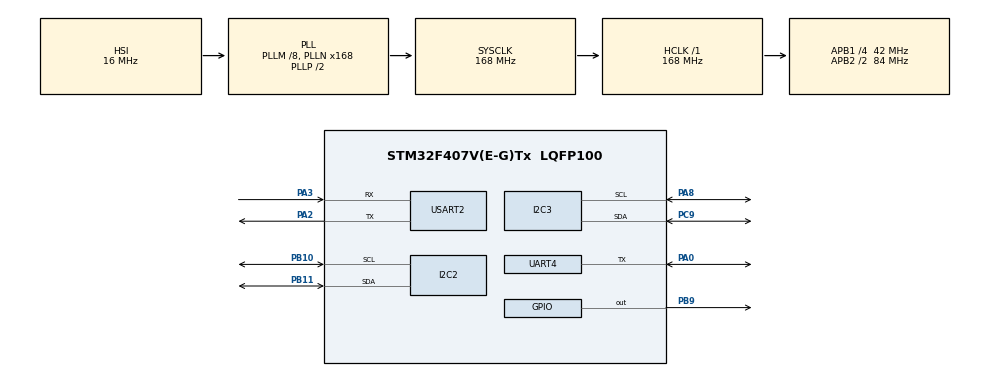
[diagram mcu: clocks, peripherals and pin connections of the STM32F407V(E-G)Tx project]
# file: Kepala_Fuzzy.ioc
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Dma.Request0=USART2_RX
Dma.USART2_RX.0.Direction=DMA_PERIPH_TO_MEMORY
Dma.USART2_RX.0.FIFOMode=DMA_FIFOMODE_DISABLE
Dma.USART2_RX.0.Instance=DMA1_Stream5
Dma.USART2_RX.0.MemDataAlignment=DMA_MDATAALIGN_BYTE
Dma.USART2_RX.0.MemInc=DMA_MINC_ENABLE
Dma.USART2_RX.0.Mode=DMA_NORMAL
Dma.USART2_RX.0.PeriphDataAlignment=DMA_PDATAALIGN_BYTE
Dma.USART2_RX.0.PeriphInc=DMA_PINC_DISABLE
Dma.USART2_RX.0.Priority=DMA_PRIORITY_LOW
Mcu.Family=STM32F4
Mcu.Name=STM32F407V(E-G)Tx
Mcu.Package=LQFP100
NVIC.DMA1_Stream5_IRQn=true\:0\:0\:false\:false\:true\:false\:true\:true
NVIC.PriorityGroup=NVIC_PRIORITYGROUP_4
NVIC.USART2_IRQn=true\:0\:0\:false\:false\:true\:true\:true\:true
PA0-WKUP.Mode=Half_duplex(single_wire_mode)
PA0-WKUP.Signal=UART4_TX
PA13.Mode=Serial_Wire
PA13.Signal=SYS_JTMS-SWDIO
PA14.Mode=Serial_Wire
PA14.Signal=SYS_JTCK-SWCLK
PA2.Mode=Asynchronous
PA2.Signal=USART2_TX
PA3.Mode=Asynchronous
PA3.Signal=USART2_RX
PA8.Mode=I2C
PA8.Signal=I2C3_SCL
PB10.Mode=I2C
PB10.Signal=I2C2_SCL
PB11.Mode=I2C
PB11.Signal=I2C2_SDA
PB9.Signal=GPIO_Output
PC9.Mode=I2C
PC9.Signal=I2C3_SDA
PH0-OSC_IN.Mode=HSE-External-Oscillator
PH0-OSC_IN.Signal=RCC_OSC_IN
PH1-OSC_OUT.Mode=HSE-External-Oscillator
PH1-OSC_OUT.Signal=RCC_OSC_OUT
ProjectManager.HeapSize=0x200
ProjectManager.StackSize=0x400
ProjectManager.TargetToolchain=MDK-ARM V5.32
RCC.48MHZClocksFreq_Value=84000000
RCC.AHBFreq_Value=168000000
RCC.APB1CLKDivider=RCC_HCLK_DIV4
RCC.APB1Freq_Value=42000000
RCC.APB1TimFreq_Value=84000000
RCC.APB2CLKDivider=RCC_HCLK_DIV2
RCC.APB2Freq_Value=84000000
RCC.APB2TimFreq_Value=168000000
RCC.CortexFreq_Value=168000000
RCC.HCLKFreq_Value=168000000
RCC.HSE_VALUE=25000000
RCC.HSI_VALUE=16000000
RCC.LSE_VALUE=32768
RCC.PLLM=8
RCC.PLLN=168
RCC.SYSCLKFreq_VALUE=168000000
RCC.SYSCLKSource=RCC_SYSCLKSOURCE_PLLCLK
RCC.VCOOutputFreq_Value=336000000
UART4.BaudRate=1000000
UART4.VirtualMode=Asynchronous
USART2.VirtualMode=VM_ASYNC
board=custom

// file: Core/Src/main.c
/* USER CODE BEGIN Header */
/**
  ******************************************************************************
  * @file           : main.c
  * @brief          : Main program body
  ******************************************************************************
  * @attention
  *
  * Copyright (c) 2023 STMicroelectronics.
  * All rights reserved.
  *
  * This software is licensed under terms that can be found in the LICENSE file
  * in the root directory of this software component.
  * If no LICENSE file comes with this software, it is provided AS-IS.
  *
  ******************************************************************************
  */
/* USER CODE END Header */
#include "main.h"

/* USER CODE BEGIN Includes */
#include <stdlib.h>

//*************************** CONFIGURATIONS **********************************//
#define DETEKSI_KORBAN_PID
#define WALL_FOLLOWER_PID
#define USE_STABILIZE_PID
#define DETEKSI_SF_PID

//*************************** PARAMETERS **********************************//
#define SPEED_WALKING						10
#define SAMPLE_TIME_S 					0.01f
// Luas pembacaan diperoleh dari (luas arena - luas robot bagian luar) = 45 - 33 = 12
#define LEBAR_PEMBACAAN 				12.00
// Panjang ping kaki diperoleh dari pengukuran jarak dari ping ke kaki bagian dalam
#define PANJANG_PING_KAKI 			9.00
// Mengetahui Jarak terhadap tembok yang ada di depan (perlu diperhitungkan terkait dengan daerah minimal yang diperlukan untuk melakukan rotasi
#define BATAS_DEPAN 						9.00

//*************************** DEBUG MODE **********************************//
//#define TEST_HUSKY
//#define TEST_DYNA
//#define TEST_PING
//#define TEST_COMMUNICATION
//#define MAIN_PROGRAM
#define MAIN_PROGRAM_STACK
//#define TEST_BENCH

//*************************** VARIABEL JALAN ********************************//
//#define STEP_0
#define STEP_1
#define STEP_2
#define STEP_3
#define STEP_4
#define STEP_5
#define STEP_6
#define STEP_6A
#define STEP_6B
//#define STEP_7
//#define STEP_8
//#define STEP_9
//#define STEP_10
//#define STEP_11
//#define STEP_12
//#define STEP_13

//*************************** MODE KALKULASI ********************************//
#define USE_PID

//*************************** ON/OFF MODUL ********************************//
#define HUSKY_ON
#define DYNA_ON
#define PING_ON
#define COMMUNICATION_ON

//*************************** FILE EKSTERNAL ******************************//
#ifdef PING_ON
#include "Ping_driver.h"
#include "DWT_Delay.h"
#endif

#ifdef COMMUNICATION_ON
#include "Komunikasi.h"
#endif

#ifdef HUSKY_ON
#include "Huskylens_driver.h"
#endif

#ifdef DYNA_ON
#include "Dynamixel.h"
#endif

#ifdef USE_PID
#include "PID_driver.h"
#endif

/* USER CODE END Includes */

/* USER CODE BEGIN PTD */

// Filter untuk sensor PING
//#define FILTER_KAKI
#define FILTER_AVG

// State untuk deteksi Wall
#define STATE_KANAN 						0x01
#define STATE_KIRI 							0x02
#define STATE_DOUBLE						0x03
#define STATE_DEPAN 						0x04
#define STATE_BELAKANG 					0x05

// State untuk belok
#define BELOK_KANAN 						0x01
#define BELOK_KIRI 							0x02

// State untuk mode jalan
#define MODE_MENDAKI 						0x01
#define MODE_MELEWATI_KELERENG 	0x02
#define MODE_MENURUN 						0x03
#define MODE_MENCARI_KORBAN 		0x04

/* USER CODE END PTD */

/* USER CODE BEGIN PD */
typedef enum{
	KOSONG_KANAN = 0x01U,
	KOSONG_KIRI = 0x02U
}home_typedef_t;

typedef enum{
	DIRECTION_KANAN = 0x01U,
	DIRECTION_KIRI = 0x02U,
	DIRECTION_DEPAN = 0x03U,
	DIRECTION_BELAKANG = 0x04U
}follower_direction_t;

huskylens_area_identification_t running_arena = HOME;
home_typedef_t home_direction = 0x00;
/* USER CODE END PD */

I2C_HandleTypeDef hi2c2;
I2C_HandleTypeDef hi2c3;

UART_HandleTypeDef huart4;
UART_HandleTypeDef huart2;
DMA_HandleTypeDef hdma_usart2_rx;

void SystemClock_Config(void);
static void MX_GPIO_Init(void);
static void MX_DMA_Init(void);
static void MX_USART2_UART_Init(void);
static void MX_I2C2_Init(void);
static void MX_UART4_Init(void);
static void MX_I2C3_Init(void);

/* USER CODE BEGIN 0 */

//****************************** CONFIG  HUSKYLENS *******************************//
#ifdef HUSKY_ON
huskylens_info_t huskAll;
huskylens_status_t status;
huskylens_arrow_t arrows;
huskylens_block_t blocks;
huskylens_all_byid_t id;
double husky_distance = 0;
uint16_t algorithm_type = ALGORITHM_NOT_FOUND;
#endif

//****************************** CONFIG  PING *******************************//
#ifdef PING_ON
Ping_t FR;
Ping_t BR;
Ping_t FL;
Ping_t BL;
Ping_t FF;
Ping_t BB;
Ping_t CP;

double kanan = 0,kiri = 0, depan = 0, belakang = 0, capit = 0;
double FRV,BRV,FLV,BLV,FFV,BBV, CPV;

#endif

//****************************** CONFIG  DYNAMIXEL *******************************//
#ifdef DYNA_ON
dynamixel_t ax;
uint16_t dyna_sudut = 0;
#endif

//***************************** CONFIG PID **********************************//
#ifdef USE_PID
// PID pencarian korban
PIDController pid_pk;
float setpoint_pk = 160;

// PID deteksi korban
PIDController pid_dk;
float setpoint_dk = 160;

// PID Wall Follower
PIDController pid_wf;
float setpoint_wf = 4;
float setpoint_wf_y = 10;

// PID Stabilizer
PIDController pid_st;
float setpoint_st = 0.1;

// PID Jalan Korban Follower
PIDController pid_kf;
float setpoint_kf = 512;

// PID Rotasi Korban
PIDController pid_rk;
float setpoint_rk = 512;

// PID AXIS
PIDController pid_axis_x; PIDController pid_axis_y;
#endif

//**************************** CONFIG COMMUNICATION ********************************//
#ifdef COMMUNICATION_ON
feedback_t feeding;
void HAL_UART_RxCpltCallback(UART_HandleTypeDef *huart)
{
	// reset
	feeding.jalan = 0x00;
	feeding.ping = 0x00;
	feeding.req = 0x00;
	feeding.rotasi = 0x00;
	feeding.standby = 0x00;
	feeding.statis = 0x00;
	feeding.translasi = 0x00;
	feeding.capit = 0x00;
	feeding.serok = 0x00;
	rx_feedback(&feeding);
}
#endif
void pid_run(uint8_t state_jalan, double input, follower_direction_t dir);
void pid_run_batu(uint8_t state_jalan, double input, follower_direction_t dir);

//****************************** PROTOTYPE ACTION  ************************************//
void scp_wall_follower(uint8_t state, follower_direction_t direction_play);
void scp_wall_follower_batu(uint8_t state, follower_direction_t direction_play);
void scp_belok(uint8_t direction, uint16_t time);
bool scp_wall_stabilizer(uint8_t state);
bool scp_deteksi_korban(uint8_t id, follower_direction_t dir);
void scp_deteksi_arena(uint8_t id);
void scp_mode_jalan(mode_jalan_t mode);
void scp_pengangkatan_korban(void);
void scp_penurunan_korban(void);
void scp_kepala_move(dynamixel_kepala_direction_t dir);
bool scp_korban_follower(uint8_t id, follower_direction_t dir);
bool scp_korban_follower_rotasi(uint8_t id, follower_direction_t dir);
void scp_wall_follower_belakang(void);
void scp_ambil_korban(void);
void scp_turun_korban(void);
bool scp_korban_follower_statis(uint8_t state);
bool scp_korban_follower_kepala(void);
bool scp_axis_stabilizer(int16_t x_axis, int16_t y_axis, uint8_t state_x, uint8_t state_y );
void ping_clear(void);
/* USER CODE END 0 */

int main(void)
{

  /* MCU Configuration--------------------------------------------------------*/

  /* Reset of all peripherals, Initializes the Flash interface and the Systick. */
  HAL_Init();

  /* Configure the system clock */
  SystemClock_Config();

  /* Initialize all configured peripherals */
  MX_GPIO_Init();
  MX_DMA_Init();
  MX_USART2_UART_Init();
  MX_I2C2_Init();
  MX_UART4_Init();
  MX_I2C3_Init();
  /* USER CODE BEGIN 2 */
	//*********************** COMMUNICATION CONFIG **************************//
	#ifdef COMMUNICATION_ON
	komunikasi_init(&huart2);
	rx_start();
	tx_move_steady();
	tx_capit(HOME_CAPIT, 0x00, 20);
	HAL_Delay(2000);
	while(!feeding.statis){
		tx_statis(80,70,-100);
		HAL_Delay(10);
	}

	#endif

	//********************** Config For Huskylens *************************/
	#ifdef HUSKY_ON
	if(husky_setup(&hi2c2) == HUSKY_OK){
		HAL_GPIO_TogglePin(GPIOD, GPIO_PIN_12);
	}

	huskAll = husky_getAllArrowBlock();
	#endif

	//********************** Config For PING *************************/
	#ifdef PING_ON
	DWT_Delay_Init();

	// PING 1 -> Depan Kanan
	FR.PING_PORT = GPIOE;
	FR.PING_PIN = GPIO_PIN_5;
	// IR1 2 -> Belakang Kanan
	BR.PING_PORT = GPIOB;
	BR.PING_PIN = GPIO_PIN_0;
	// PING 3 -> Belakang Kiri
	BL.PING_PORT = GPIOB;
	BL.PING_PIN = GPIO_PIN_9;
	// PING 4 -> Capit
	CP.PING_PORT = GPIOB;
	CP.PING_PIN = GPIO_PIN_8;
	// PING 6 -> Depan Kiri
	FL.PING_PORT = GPIOB;
	FL.PING_PIN = GPIO_PIN_4;
	// PING 7 -> Depan
	FF.PING_PORT = GPIOB;
	FF.PING_PIN = GPIO_PIN_3;
	// PING 5 -> Belakang
	BB.PING_PORT = GPIOB;
	BB.PING_PIN = GPIO_PIN_5;
	#endif

	//*********************** DYNAMIXEL CONFIG **************************//
	#ifdef DYNA_ON
	dyna_init(&huart4, &ax, 0x11);
	dyna_calibrate(&ax);
	#endif

	//*********************** PID CONFIG **************************//
	#ifdef USE_PID
	// PID untuk Pencarian korban
	pid_pk.Kp = 1.1; 				pid_pk.Ki = 0.2; 				pid_pk.Kd = 0; 					pid_pk.tau = 0.02;
	pid_pk.limMax = 20; 		pid_pk.limMin = -20; 		pid_pk.limMaxInt = 5; 	pid_pk.limMinInt = -5;
	pid_pk.T_sample = SAMPLE_TIME_S;
	PIDController_Init(&pid_pk);

	// PID untuk Deteksi Korban
	pid_dk.Kp = 1; 				pid_dk.Ki = 0; 				pid_dk.Kd = 0.1; 					pid_dk.tau = 0.02;
	pid_dk.limMax = 20; 		pid_dk.limMin = -20; 		pid_dk.limMaxInt = 5; 	pid_dk.limMinInt = -5;
	pid_dk.T_sample = SAMPLE_TIME_S;
	PIDController_Init(&pid_dk);

	// PID untuk Wall Follower
	pid_wf.Kp = 2; 				pid_wf.Ki = 0; 				pid_wf.Kd = 0.1; 					pid_wf.tau = 0.02;
	pid_wf.limMax = 10; 	pid_wf.limMin = -10; 	pid_wf.limMaxInt = 5; 	pid_wf.limMinInt = -5;
	pid_wf.T_sample = SAMPLE_TIME_S;
	PIDController_Init(&pid_wf);

	// PID untuk Stabilizer
	pid_st.Kp = 2; 				pid_st.Ki = 0.1; 				pid_st.Kd = 0; 					pid_st.tau = 0.02;
	pid_st.limMax = 20; 	pid_st.limMin = -20; 	pid_st.limMaxInt = 5; 	pid_st.limMinInt = -5;
	pid_st.T_sample = SAMPLE_TIME_S;
	PIDController_Init(&pid_st);

	// PID untuk Jalan Follower Korban
	pid_kf.Kp = 2; 				pid_kf.Ki = 0; 				pid_kf.Kd = 1; 					pid_kf.tau = 0.02;
	pid_kf.limMax = 20; 	pid_kf.limMin = -20; 	pid_kf.limMaxInt = 5; 	pid_kf.limMinInt = -5;
	pid_kf.T_sample = SAMPLE_TIME_S;
	PIDController_Init(&pid_kf);

	// PID untuk Rotasi Korban
	pid_rk.Kp = 2; 				pid_rk.Ki = 0.5; 				pid_rk.Kd = 0; 					pid_rk.tau = 0.02;
	pid_rk.limMax = 20; 	pid_rk.limMin = -20; 	pid_rk.limMaxInt = 5; 	pid_rk.limMinInt = -5;
	pid_rk.T_sample = SAMPLE_TIME_S;
	PIDController_Init(&pid_rk);

	// PID untuk Axis X
	pid_axis_x.Kp = 2; 				pid_axis_x.Ki = 0.1; 				pid_axis_x.Kd = 0; 				pid_axis_x.tau = 0.02;
	pid_axis_x.limMax = 20; 	pid_axis_x.limMin = -20; 	pid_axis_x.limMaxInt = 5; 	pid_axis_x.limMinInt = -5;
	pid_axis_x.T_sample = SAMPLE_TIME_S;
	PIDController_Init(&pid_axis_x);

	// PID untuk Axis Y
	pid_axis_y.Kp = 2; 				pid_axis_y.Ki = 0.1; 				pid_axis_y.Kd = 0; 				pid_axis_y.tau = 0.02;
	pid_axis_y.limMax = 20; 	pid_axis_y.limMin = -20; 		pid_axis_y.limMaxInt = 5; 	pid_axis_y.limMinInt = -5;
	pid_axis_y.T_sample = SAMPLE_TIME_S;
	PIDController_Init(&pid_axis_y);
	#endif

	//**********************======================*************************//
	//**********************= ONE STOP ALGORITHM =*************************//
	//**********************======================*************************//
	#ifdef MAIN_PROGRAM_STACK

	//----- TEST STEP
	#ifdef STEP_0
	while(1){
		scp_korban_follower_statis()
	}
	#endif

	//----- Home -----
	//1. Identifikasi Arah Pergerakan
	#ifdef STEP_1
	while(1){
		// Pembacaan Sensor PING
		FRV = ping_read(FR);
		BRV = ping_read(BR);
		BLV = ping_read(BL);
		FLV = ping_read(FL);

		if((FLV < 15) && (FLV > 1)){
			home_direction = KOSONG_KANAN;
			scp_kepala_move(KEPALA_BELAKANG);
			break;
		}
		else if((FRV < 15) && (FRV > 1)){
			home_direction = KOSONG_KIRI;
			scp_kepala_move(KEPALA_DEPAN);
			break;
		}
	}
	#endif

	//2. Bergerak sesuai konfigurasi Start
	#ifdef STEP_2
	while(1){
		if(scp_deteksi_korban(1, DIRECTION_DEPAN)) break;
		else if(home_direction == KOSONG_KANAN) scp_wall_follower(STATE_DEPAN, DIRECTION_KANAN);
		else if(home_direction == KOSONG_KIRI) scp_wall_follower(STATE_BELAKANG, DIRECTION_KIRI);
	}
	#endif

	//3. Pencarian korban K1
	#ifdef STEP_3
	bool status = false;
	while(1){
		status = scp_korban_follower_statis(STATE_BELAKANG);
		if(status == true){
			break;
		}
	}
	#endif

	// 4. Pengangkatan Korban
	#ifdef STEP_4
		while(1){
			while(1){
				BBV = ping_read(BB);
				if(BBV > 1){
					if(BBV <= 15.5) tx_move_jalan(0, 10, 30, SPEED_WALKING, JALAN_NORMAL, 10);
					else{
						tx_move_steady();
						break;
					}
				}
			}
			scp_korban_follower_rotasi(1, DIRECTION_KANAN);
			scp_kepala_move(KEPALA_BELAKANG);
			tx_capit(HOME_CAPIT, 0x00, 15);
			tx_capit(AMBIL_KORBAN, 0x00, 15);
			HAL_Delay(3000);
			dyna_calibrate(&ax);
			HAL_Delay(500);
			tx_move_steady();
			break;
		}
	#endif

	// 5. Mundur Sesuai dengan batas belakang
	#ifdef STEP_5
	while(1){
			HAL_Delay(10);
			BBV = ping_read(BB);
			if(BBV > 1){
				if(BBV >= 13) tx_move_jalan(0, -10, 30, SPEED_WALKING, JALAN_NORMAL, 10);
				else{
					tx_statis(80,70,-100);
					tx_move_steady();
					break;
				}
			}
	}
	#endif

	// 6. Linear moving untuk melewati obstacle jalan pecah dan menurun
	#ifdef STEP_6A
	while(!feeding.statis){
		tx_statis(80,70,-100);
		HAL_Delay(10);
	}
	while(1){
		ping_clear();
		FFV = ping_read(FF);
		FLV = ping_read(FL);
		BLV = ping_read(BL);
		BBV = ping_read(BB);
		if(FFV > 50 && FLV < 18 && BLV < 18){
			tx_move_steady();
			break;
		}
		else {
			scp_wall_follower_belakang();
		}
	}
	#endif
	#ifdef STEP_6B
	scp_axis_stabilizer(10, 10, STATE_KIRI, STATE_BELAKANG);
	while(1){
		bool status_wall = scp_wall_stabilizer(STATE_KIRI);
		if(status_wall == true)
		{
			tx_move_steady();
			break;
		}
	}

	scp_wall_stabilizer(STATE_KIRI);

	while(1){
			ping_clear();
			HAL_Delay(1);
			BBV = ping_read(BB);
			if(BBV <= 15) tx_move_jalan(0, 10, 60, SPEED_WALKING, JALAN_NORMAL, 10);
			else{
				scp_kepala_move(KEPALA_KANAN_DEPAN);
				HAL_Delay(500);
				tx_capit(HOME_CAPIT, 0x00, 15);
				tx_capit(PENYELAMATAN_KORBAN, 0x00, 15);
				HAL_Delay(5000);
				scp_kepala_move(KEPALA_KANAN);
				tx_move_steady();
				break;
			}
	}

	while(1){
		ping_clear();
		FFV = ping_read(FF);
		FLV = ping_read(FL);
		BLV = ping_read(BL);
		BBV = ping_read(BB);
		if(FFV < 50){
			tx_move_steady();
			break;
		}
		else {
			scp_wall_follower_batu(STATE_KIRI, DIRECTION_DEPAN);
		}
	}

	while(!scp_korban_follower_statis(STATE_DEPAN)){
		HAL_Delay(10);
	}

	#endif

	// 7. Arena Batu Bawah
	#ifdef STEP_7
	while(1){
		FFV = ping_read(FF);
		FLV = ping_read(FL);
		BLV = ping_read(BL);
		if((FLV > 1)&&(BLV > 1) && (FFV > 1)){
			if((FLV >= 10) && (BLV >=10) && (FFV < 20)){
				scp_wall_follower_belakang();
			}
			else{
				tx_move_steady();
				break;
			}
		}
	}
	#endif

	#ifdef STEP_8
	while(1){
		scp_kepala_move(KEPALA_KANAN_DEPAN);
		HAL_Delay(3000);
		tx_move_jalan(0, 0, 30, SPEED_WALKING, JALAN_NORMAL, 10);
		scp_korban_follower_rotasi(1, DIRECTION_KANAN);
		break;
	}
	#endif

	// 8. Safe Zone
	#ifdef STEP_9
	while(1){
		FFV = ping_read(FF);
		FLV = ping_read(FL);
		BLV = ping_read(BL);
		FRV = ping_read(FR);
		BRV = ping_read(BR);
		BBV = ping_read(BB);
		if((FFV > 1) && (BBV > 1)){
			if(BBV <= 27) tx_move_jalan(0, 10, 60, SPEED_WALKING, JALAN_NORMAL, 10);
				else{
					tx_capit(PENYELAMATAN_KORBAN, 0x00, 15);
					HAL_Delay(1000);
					tx_move_steady();
					break;
				}
		}
	}
	#endif

	// 9. Penurunan Korban
	#ifdef STEP_10
	while(1){
		FFV = ping_read(FF);
		BBV = ping_read(BB);
		if((FFV > 1) && (BBV > 1)){
			if(BBV >= 18) tx_move_jalan(0, -10, 30, SPEED_WALKING, JALAN_NORMAL, 10);
			else{
				// Penurunan Korban
				tx_move_steady();
				break;
			}
		}
	}
	#endif

	// 10. Melewati jalanan Berbatu
	#ifdef STEP_11
	while(1){
		FRV = ping_read(FR);
		BRV = ping_read(BR);
		BLV = ping_read(BL);
		FLV = ping_read(FL);
		FFV = ping_read(FF);
		BBV = ping_read(BB);
		if( (FRV > 1) && (BRV > 1) && (FFV > 1) && (BBV > 1)){
			if((FRV >= 20) && (BRV >= 20)){
				scp_wall_follower_batu(STATE_KIRI, DIRECTION_DEPAN);
			}
			else{
				scp_kepala_move(KEPALA_KANAN);
				tx_move_steady();
				break;
			}
		}
	}
	#endif

	// 11. Penyesuaian Korban di Area Kelereng
	#ifdef STEP_12
	while(1){
		if(scp_deteksi_korban(1, DIRECTION_KANAN)){
			tx_move_steady();
			break;
		}
		else scp_wall_follower_batu(STATE_KIRI, DIRECTION_DEPAN);
	}
	#endif

	// 10. Rotasi Robot Pada K2
	#ifdef STEP_13
	while(1){
		if(scp_korban_follower_rotasi(1, DIRECTION_KANAN) == true){
			tx_move_steady();
			break;
		}
	}
	#endif

	// 11. Pengangkatan Korban K2
	#ifdef STEP_14
	while(1){
		scp_kepala_move(KEPALA_BELAKANG);
		tx_capit(HOME_CAPIT, 0x00, 15);
		tx_capit(AMBIL_KORBAN, 0x00, 15);
		HAL_Delay(3000);
		dyna_calibrate(&ax);
		HAL_Delay(500);
		tx_move_steady();
		tx_statis(80,70,-100);
		tx_move_steady();
		break;
	}
	#endif

	// 12. Menuju Safety Zone 2
	#ifdef STEP_15
	while(1){
		BLV = ping_read(BL);
		FLV = ping_read(FL);
		FFV = ping_read(FF);
		BBV = ping_read(BB);
		if( (FLV > 1) && (BLV > 1) && (FFV > 1) && (BBV > 1)){
			if((FLV >= 10) && (BLV >= 10)){
				scp_wall_follower_belakang();
			}
			else{
				tx_move_steady();
				break;
			}
		}
	}
	#endif

	// 13. Penyesuaian Posisi Badan -> rotasi berdasarkan ping bb, bl, br, ff
	#ifdef STEP_16
		BLV = ping_read(BL);
		BRV = ping_read(BR);
		FFV = ping_read(FF);
		BBV = ping_read(BB);
	#endif

	// 14. Peletakkan Korban
	#ifdef STEP_17
	#endif

	// 15. Penyesuaian Badan
	#ifdef STEP_18
	#endif

	//
	#endif

  /* USER CODE END 2 */

  /* Infinite loop */
  /* USER CODE BEGIN WHILE */
  while (1)
  {
		#ifdef MAIN_PROGRAM

		#endif
		#ifdef TEST_BENCH
//		scp_wall_stabilizer(STATE_KIRI);
//		scp_axis_stabilizer(10, 10, STATE_KIRI, STATE_BELAKANG );
		#endif

		//************************* HUSKY TEST ***********************//
		#ifdef TEST_HUSKY
		#ifdef HUSKY_ON
		blocks = husky_getBlocks();
		#endif
		#endif

		//************************* DYNAMIXEL TEST ***********************//
		#ifdef TEST_DYNA
		#ifdef DYNA_ON
		dyna_set_moving_speed(&ax, 0x0300, MOVING_CCW);
		dyna_set_goal_position(&ax, 0x0000);
		HAL_Delay(1000);
		dyna_set_goal_position(&ax, 0x0267);
		dyna_read_posisition(&ax);
		HAL_Delay(1000);
		dyna_set_goal_position(&ax, 0x0000);
		#endif
		#endif

		//************************* PING TEST ***********************//
		#ifdef TEST_PING
		#ifdef PING_ON
		BBV = ping_read(BB);
		FRV = ping_read(FR);
		BRV = ping_read(BR);
		BLV = ping_read(BL);
		FLV = ping_read(FL);
		FFV = ping_read(FF);
		CPV = ping_read(CP);
		#endif
		#endif
    /* USER CODE END WHILE */

  }
}

void SystemClock_Config(void)
{
  RCC_OscInitTypeDef RCC_OscInitStruct = {0};
  RCC_ClkInitTypeDef RCC_ClkInitStruct = {0};

  /** Configure the main internal regulator output voltage
  */
  __HAL_RCC_PWR_CLK_ENABLE();
  __HAL_PWR_VOLTAGESCALING_CONFIG(PWR_REGULATOR_VOLTAGE_SCALE1);

  /** Initializes the RCC Oscillators according to the specified parameters
  * in the RCC_OscInitTypeDef structure.
  */
  RCC_OscInitStruct.OscillatorType = RCC_OSCILLATORTYPE_HSI;
  RCC_OscInitStruct.HSIState = RCC_HSI_ON;
  RCC_OscInitStruct.HSICalibrationValue = RCC_HSICALIBRATION_DEFAULT;
  RCC_OscInitStruct.PLL.PLLState = RCC_PLL_ON;
  RCC_OscInitStruct.PLL.PLLSource = RCC_PLLSOURCE_HSI;
  RCC_OscInitStruct.PLL.PLLM = 8;
  RCC_OscInitStruct.PLL.PLLN = 168;
  RCC_OscInitStruct.PLL.PLLP = RCC_PLLP_DIV2;
  RCC_OscInitStruct.PLL.PLLQ = 4;
  if (HAL_RCC_OscConfig(&RCC_OscInitStruct) != HAL_OK)
  {
    Error_Handler();
  }

  /** Initializes the CPU, AHB and APB buses clocks
  */
  RCC_ClkInitStruct.ClockType = RCC_CLOCKTYPE_HCLK|RCC_CLOCKTYPE_SYSCLK
                              |RCC_CLOCKTYPE_PCLK1|RCC_CLOCKTYPE_PCLK2;
  RCC_ClkInitStruct.SYSCLKSource = RCC_SYSCLKSOURCE_PLLCLK;
  RCC_ClkInitStruct.AHBCLKDivider = RCC_SYSCLK_DIV1;
  RCC_ClkInitStruct.APB1CLKDivider = RCC_HCLK_DIV4;
  RCC_ClkInitStruct.APB2CLKDivider = RCC_HCLK_DIV2;

  if (HAL_RCC_ClockConfig(&RCC_ClkInitStruct, FLASH_LATENCY_5) != HAL_OK)
  {
    Error_Handler();
  }
}

static void MX_I2C2_Init(void)
{

  hi2c2.Instance = I2C2;
  hi2c2.Init.ClockSpeed = 100000;
  hi2c2.Init.DutyCycle = I2C_DUTYCYCLE_2;
  hi2c2.Init.OwnAddress1 = 0;
  hi2c2.Init.AddressingMode = I2C_ADDRESSINGMODE_7BIT;
  hi2c2.Init.DualAddressMode = I2C_DUALADDRESS_DISABLE;
  hi2c2.Init.OwnAddress2 = 0;
  hi2c2.Init.GeneralCallMode = I2C_GENERALCALL_DISABLE;
  hi2c2.Init.NoStretchMode = I2C_NOSTRETCH_DISABLE;
  if (HAL_I2C_Init(&hi2c2) != HAL_OK)
  {
    Error_Handler();
  }

}

static void MX_I2C3_Init(void)
{

  hi2c3.Instance = I2C3;
  hi2c3.Init.ClockSpeed = 100000;
  hi2c3.Init.DutyCycle = I2C_DUTYCYCLE_2;
  hi2c3.Init.OwnAddress1 = 0;
  hi2c3.Init.AddressingMode = I2C_ADDRESSINGMODE_7BIT;
  hi2c3.Init.DualAddressMode = I2C_DUALADDRESS_DISABLE;
  hi2c3.Init.OwnAddress2 = 0;
  hi2c3.Init.GeneralCallMode = I2C_GENERALCALL_DISABLE;
  hi2c3.Init.NoStretchMode = I2C_NOSTRETCH_DISABLE;
  if (HAL_I2C_Init(&hi2c3) != HAL_OK)
  {
    Error_Handler();
  }

}

static void MX_UART4_Init(void)
{

  huart4.Instance = UART4;
  huart4.Init.BaudRate = 1000000;
  huart4.Init.WordLength = UART_WORDLENGTH_8B;
  huart4.Init.StopBits = UART_STOPBITS_1;
  huart4.Init.Parity = UART_PARITY_NONE;
  huart4.Init.Mode = UART_MODE_TX_RX;
  huart4.Init.HwFlowCtl = UART_HWCONTROL_NONE;
  huart4.Init.OverSampling = UART_OVERSAMPLING_16;
  if (HAL_HalfDuplex_Init(&huart4) != HAL_OK)
  {
    Error_Handler();
  }

}

static void MX_USART2_UART_Init(void)
{

  huart2.Instance = USART2;
  huart2.Init.BaudRate = 115200;
  huart2.Init.WordLength = UART_WORDLENGTH_8B;
  huart2.Init.StopBits = UART_STOPBITS_1;
  huart2.Init.Parity = UART_PARITY_NONE;
  huart2.Init.Mode = UART_MODE_TX_RX;
  huart2.Init.HwFlowCtl = UART_HWCONTROL_NONE;
  huart2.Init.OverSampling = UART_OVERSAMPLING_16;
  if (HAL_UART_Init(&huart2) != HAL_OK)
  {
    Error_Handler();
  }

}

static void MX_DMA_Init(void)
{

  /* DMA controller clock enable */
  __HAL_RCC_DMA1_CLK_ENABLE();

  /* DMA interrupt init */
  /* DMA1_Stream5_IRQn interrupt configuration */
  HAL_NVIC_SetPriority(DMA1_Stream5_IRQn, 0, 0);
  HAL_NVIC_EnableIRQ(DMA1_Stream5_IRQn);

}

static void MX_GPIO_Init(void)
{
  GPIO_InitTypeDef GPIO_InitStruct = {0};

  /* GPIO Ports Clock Enable */
  __HAL_RCC_GPIOH_CLK_ENABLE();
  __HAL_RCC_GPIOA_CLK_ENABLE();
  __HAL_RCC_GPIOB_CLK_ENABLE();
  __HAL_RCC_GPIOC_CLK_ENABLE();
	__HAL_RCC_GPIOE_CLK_ENABLE();

  /*Configure GPIO pin Output Level */
  HAL_GPIO_WritePin(GPIOB, GPIO_PIN_9, GPIO_PIN_RESET);

  /*Configure GPIO pin : PB9 */
  GPIO_InitStruct.Pin = GPIO_PIN_9;
  GPIO_InitStruct.Mode = GPIO_MODE_OUTPUT_PP;
  GPIO_InitStruct.Pull = GPIO_NOPULL;
  GPIO_InitStruct.Speed = GPIO_SPEED_FREQ_LOW;
  HAL_GPIO_Init(GPIOB, &GPIO_InitStruct);

}

/* USER CODE BEGIN 4 */

//************************* PID CALCULATION *******************//
#ifdef WALL_FOLLOWER_PID
void pid_run_batu(uint8_t state_jalan, double input, follower_direction_t dir){
		if((state_jalan == STATE_KANAN)&&(input > 0.0)){
			for (float t = 0.01f; t <= 5; t += SAMPLE_TIME_S) {
				PIDController_Update(&pid_wf, setpoint_wf, input);
				if(dir == DIRECTION_DEPAN) tx_move_jalan((pid_wf.out*(-1)), 15, 40, SPEED_WALKING, JALAN_NORMAL,1);
				else if(dir == DIRECTION_BELAKANG) tx_move_jalan((pid_wf.out*(-1)), -15, 40, SPEED_WALKING, JALAN_NORMAL,1);
			}
		}
		else if((state_jalan == STATE_KIRI)&&(input > 0.0)){
			for (float t = 0.01f; t <= 5; t += SAMPLE_TIME_S){
				PIDController_Update(&pid_wf, setpoint_wf, input);
				if(dir == DIRECTION_DEPAN) tx_move_jalan(pid_wf.out, 30, 60, SPEED_WALKING, JALAN_NORMAL,1);
				else if(dir == DIRECTION_BELAKANG) tx_move_jalan(pid_wf.out, -30, 60, SPEED_WALKING, JALAN_NORMAL,1);
			}
		}
		else if((state_jalan == STATE_DEPAN)&&(input > 0.0)){
			for (float t = 0.01f; t <= 5; t += SAMPLE_TIME_S){
				PIDController_Update(&pid_wf, setpoint_wf_y, input);
				if(dir == DIRECTION_KANAN) tx_move_jalan(15, pid_wf.out*(-1), 40, SPEED_WALKING, JALAN_NORMAL,1);
				else if (dir == DIRECTION_KIRI) tx_move_jalan(-15, pid_wf.out*(-1), 40, SPEED_WALKING, JALAN_NORMAL,1);
			}
		}
		else if((state_jalan == STATE_BELAKANG)&&(input > 0.0)){
			for (float t = 0.01f; t <= 5; t += SAMPLE_TIME_S){
				PIDController_Update(&pid_wf, setpoint_wf_y, input);
				if(dir == DIRECTION_KANAN) tx_move_jalan(20, pid_wf.out, 50, SPEED_WALKING, JALAN_NORMAL,1);
				else if(dir == DIRECTION_KIRI) tx_move_jalan(-20, pid_wf.out, 50, SPEED_WALKING, JALAN_NORMAL,1);
			}
		}
}

void pid_run(uint8_t state_jalan, double input, follower_direction_t dir){
		if((state_jalan == STATE_KANAN)&&(input > 0.0)){
			for (float t = 0.01f; t <= 5; t += SAMPLE_TIME_S) {
				PIDController_Update(&pid_wf, setpoint_wf, input);
				if(dir == DIRECTION_DEPAN) tx_move_jalan((pid_wf.out*(-1)), 15, 40, SPEED_WALKING, JALAN_NORMAL,1);
				else if(dir == DIRECTION_BELAKANG) tx_move_jalan((pid_wf.out*(-1)), -15, 40, SPEED_WALKING, JALAN_NORMAL,1);
			}
		}
		else if((state_jalan == STATE_KIRI)&&(input > 0.0)){
			for (float t = 0.01f; t <= 5; t += SAMPLE_TIME_S){
				PIDController_Update(&pid_wf, setpoint_wf, input);
				if(dir == DIRECTION_DEPAN) tx_move_jalan(pid_wf.out, 15, 40, SPEED_WALKING, JALAN_NORMAL,1);
				else if(dir == DIRECTION_BELAKANG) tx_move_jalan(pid_wf.out, -15, 40, SPEED_WALKING, JALAN_NORMAL,1);
			}
		}
		else if((state_jalan == STATE_DEPAN)&&(input > 0.0)){
			for (float t = 0.01f; t <= 5; t += SAMPLE_TIME_S){
				PIDController_Update(&pid_wf, setpoint_wf_y, input);
				if(dir == DIRECTION_KANAN) tx_move_jalan(15, pid_wf.out*(-1), 40, SPEED_WALKING, JALAN_NORMAL,1);
				else if (dir == DIRECTION_KIRI) tx_move_jalan(-15, pid_wf.out*(-1), 40, SPEED_WALKING, JALAN_NORMAL,1);
			}
		}
		else if((state_jalan == STATE_BELAKANG)&&(input > 0.0)){
			for (float t = 0.01f; t <= 5; t += SAMPLE_TIME_S){
				PIDController_Update(&pid_wf, setpoint_wf_y, input);
				if(dir == DIRECTION_KANAN) tx_move_jalan(20, pid_wf.out, 30, SPEED_WALKING, JALAN_NORMAL,1);
				else if(dir == DIRECTION_KIRI) tx_move_jalan(-20, pid_wf.out, 30, SPEED_WALKING, JALAN_NORMAL,1);
			}
		}
}
#endif

//***************************************************************************************************/
//************************************ IMPLEMENTASI ACTION ******************************************/

void scp_wall_follower(uint8_t state, follower_direction_t direction_play){

	// READ VALUE PING
		BBV = ping_read(BB);
		FRV = ping_read(FR);
		BRV = ping_read(BR);
		BLV = ping_read(BL);
		FLV = ping_read(FL);
		FFV = ping_read(FF);

	//************************* Filter for PING **********************//

		// Belok
		if(((FFV <= 18) && (FFV > 0) && (FFV != 1)) && !(state == STATE_DEPAN) && !(state == STATE_BELAKANG)){

			// Belok Kanan
			if((FRV >= LEBAR_PEMBACAAN) && (BRV >= LEBAR_PEMBACAAN) && (FFV <= 18) && (state == STATE_KANAN)){
				scp_belok(BELOK_KANAN, 1000);
			}

			// Belok Kiri
			else if((FLV >= LEBAR_PEMBACAAN) && (BLV >= LEBAR_PEMBACAAN) && (FFV <= 18) && (state == STATE_KIRI)){
				scp_belok(BELOK_KIRI, 1000);
			}

//			tx_move_steady();
		}

		// Kiri
		else if((FLV > 0) && (BLV > 0) && (FLV != 1) && (BLV != 1) && (state == STATE_KIRI)){

			// Filter Tembok Rata
			if((FLV <= LEBAR_PEMBACAAN) && (BLV <= LEBAR_PEMBACAAN)){
				kiri = (FLV + BLV)/2;
				pid_run(STATE_KIRI, kiri, direction_play);
			}

		}

		// Kanan
		else if((FRV > 0) && (BRV > 0) && (FRV != 1) && (BRV != 1) && (state == STATE_KANAN)){

			// Filter Tembok Rata
			if((FRV <= LEBAR_PEMBACAAN) && (BRV <= LEBAR_PEMBACAAN)){
				kanan = (FRV + BRV)/2;
				pid_run(STATE_KANAN, kanan, direction_play);
			}
		}

		// Depan
		else if((state == STATE_DEPAN) && (FFV >= 0) && (FFV != 1)){
			depan = (FFV);
			pid_run(STATE_DEPAN, depan, direction_play);
		}

		// Belakang
		else if((state == STATE_BELAKANG) && (BBV >= 0) && (BBV != 1)){
			belakang = (BBV);
			pid_run(STATE_BELAKANG, belakang, direction_play);
		}

}

void scp_wall_follower_batu(uint8_t state, follower_direction_t direction_play){

	// READ VALUE PING
		BBV = ping_read(BB);
		FRV = ping_read(FR);
		BRV = ping_read(BR);
		BLV = ping_read(BL);
		FLV = ping_read(FL);
		FFV = ping_read(FF);

	//************************* Filter for PING **********************//

		// Kiri
		if((FLV > 0) && (BLV > 0) && (FLV != 1) && (BLV != 1) && (state == STATE_KIRI)){

			// Filter Tembok Rata
			if((FLV <= LEBAR_PEMBACAAN) && (BLV <= LEBAR_PEMBACAAN)){
				kiri = (FLV + BLV)/2;
				pid_run_batu(STATE_KIRI, kiri, direction_play);
			}

		}

		// Kanan
		else if((FRV > 0) && (BRV > 0) && (FRV != 1) && (BRV != 1) && (state == STATE_KANAN)){

			// Filter Tembok Rata
			if((FRV <= LEBAR_PEMBACAAN) && (BRV <= LEBAR_PEMBACAAN)){
				kanan = (FRV + BRV)/2;
				pid_run(STATE_KANAN, kanan, direction_play);
			}
		}

		// Depan
		else if((state == STATE_DEPAN) && (FFV >= 0) && (FFV != 1)){
			depan = (FFV);
			pid_run(STATE_DEPAN, depan, direction_play);
		}

		// Belakang
		else if((state == STATE_BELAKANG) && (BBV >= 0) && (BBV != 1)){
			belakang = (BBV);
			pid_run(STATE_BELAKANG, belakang, direction_play);
		}

}

void scp_belok(uint8_t direction, uint16_t time){

		// Rotasi Clock Wise
		if(direction == BELOK_KANAN) tx_move_rotasi(0, 0, -30, 30, 1, 10, 2);

		// Rotasi Counter Clock Wise
		if(direction == BELOK_KIRI)  tx_move_rotasi(0, 0, 30, 30, 1, 10, 2);

		// Delay selama rotasi -> Menyesuaikan parameter rotasi
		HAL_Delay(time);
}

bool scp_wall_stabilizer(uint8_t state){
	while(1){
		double front_v = 0, back_v = 0;
		if(state == STATE_KANAN){
			FRV = ping_read(FR);
			BRV = ping_read(BR);
			if((FRV >1) && (BRV > 1)){
				front_v = FRV;
				back_v = BRV;
				if((front_v-back_v <= 0.2) && (front_v-back_v >= -0.2)) return true;
				PIDController_Update(&pid_st, setpoint_st, (front_v-back_v));
				tx_move_rotasi(0, 0, pid_st.out, 50, 1, 13, 1);
			}
			else{
			continue;
			}
		}
		else if(state == STATE_KIRI){
			FLV = ping_read(FL);
			BLV = ping_read(BL);
			if((FLV >1) && (BLV > 1)){
				front_v = FLV;
				back_v = BLV;
				if((front_v-back_v <= 0.2) && (front_v-back_v >= -0.2)) return true;
				PIDController_Update(&pid_st, setpoint_st, (front_v-back_v));
				tx_move_rotasi(0, 0, pid_st.out*(-1), 50, 1, 15, 1);
			}
			else{
			continue;
			}
		}
	}
}

bool scp_deteksi_korban(uint8_t id, follower_direction_t dir){

	// Set ke Algoritma color detection
	if(algorithm_type != ALGORITHM_COLOR_RECOGNITION){
		status = husky_setAlgorithm(ALGORITHM_COLOR_RECOGNITION);
		algorithm_type = ALGORITHM_COLOR_RECOGNITION;
	}
		blocks = husky_getBlocks();
		dyna_sudut = dyna_read_posisition(&ax);
		if(blocks.id == id){
			return true;
		}
		return false;
}

bool scp_korban_follower_statis(uint8_t state){
	// Set ke Algoritma color detection
	if(algorithm_type != ALGORITHM_COLOR_RECOGNITION){
		status = husky_setAlgorithm(ALGORITHM_COLOR_RECOGNITION);
		algorithm_type = ALGORITHM_COLOR_RECOGNITION;
	}

		blocks = husky_getBlocks();
		dyna_sudut = dyna_read_posisition(&ax);
		if(blocks.id == 1){
			if(state == STATE_BELAKANG){
				BBV = ping_read(BB);
					PIDController_Update(&pid_pk, setpoint_pk, blocks.X_center);
						if((blocks.X_center >= 160) && (blocks.X_center <= 170)){
							return true;
						}
						else{
							tx_move_jalan((pid_pk.out*(-1)), 0, 30, 15, JALAN_NORMAL, 1);
						}
						return false;
			}
			else if(state == STATE_DEPAN){
				FLV = ping_read(FL);
				PIDController_Update(&pid_pk, setpoint_pk, blocks.X_center);
						if((blocks.X_center >= 160) && (blocks.X_center <= 170)){
							return true;
						}
						else{
							tx_move_jalan(0, (pid_pk.out*(-1)), 30, 15, JALAN_NORMAL, 1);
						}
						return false;
			}
		}

}

bool scp_axis_stabilizer(int16_t x_axis, int16_t y_axis, uint8_t state_x, uint8_t state_y ){
	while(1){
		double Kanan_avg = 0;
		double Kiri_avg = 0;
		double Kanan_Depan = ping_read(FR);
		double Kanan_Belakang = ping_read(BR);
		double Kiri_Depan = ping_read(FL);
		double Kiri_Belakang = ping_read(BL);
		double Depan = ping_read(FF);
		double Belakang = ping_read(BB);
	if(Kanan_Depan > 1 && Kanan_Belakang > 1){
		Kanan_avg = (Kanan_Depan + Kanan_Belakang)/2;
	}
	if(Kiri_Depan > 1 && Kiri_Belakang > 1){
		Kiri_avg = (Kiri_Depan + Kiri_Belakang)/2;
	}
	if(state_x == STATE_KANAN && state_y == STATE_DEPAN){
		PIDController_Update(&pid_axis_x, x_axis, Kanan_avg);
		PIDController_Update(&pid_axis_y, y_axis, Depan);
		tx_move_jalan((pid_axis_x.out)*(-1), (pid_axis_y.out)*(-1), 30, 15, JALAN_NORMAL, 1);
	}
	else if(state_x == STATE_KIRI && state_y == STATE_BELAKANG){
		if((x_axis - Kiri_avg) <= 1 && (x_axis - Kiri_avg) >= -1 && (y_axis - Belakang) <= 1 && (y_axis - Belakang) >= -1) break;
		PIDController_Update(&pid_axis_x, x_axis, Kiri_avg);
		PIDController_Update(&pid_axis_y, y_axis, Belakang);
		tx_move_jalan((pid_axis_x.out), (pid_axis_y.out), 30, 15, JALAN_NORMAL, 1);
	}
}
}

bool scp_korban_follower_kepala(void){

	// Set ke Algoritma color detection
	if(algorithm_type != ALGORITHM_COLOR_RECOGNITION){
		status = husky_setAlgorithm(ALGORITHM_COLOR_RECOGNITION);
		algorithm_type = ALGORITHM_COLOR_RECOGNITION;
	}
		blocks = husky_getBlocks();
		dyna_sudut = dyna_read_posisition(&ax);
		if(blocks.id == 1){

					PIDController_Update(&pid_dk, setpoint_dk, blocks.X_center);
					if(pid_dk.out >= 0){
						dyna_set_moving_speed(&ax, 50, MOVING_CW);
						dyna_set_goal_position(&ax, dyna_sudut+pid_dk.out);
					}
					else if(pid_dk.out < 0){
						dyna_set_moving_speed(&ax, 50, MOVING_CCW);
						dyna_set_goal_position(&ax, dyna_sudut+pid_dk.out);
					}

					if((blocks.X_center >= 150) && (blocks.X_center <= 160)){
						dyna_set_moving_speed(&ax, 1023, MOVING_CW);
						dyna_calibrate(&ax);
						HAL_Delay(500);
						dyna_set_goal_position(&ax, 785);
						return true;
					}
				return false;
		}
	}

bool scp_korban_follower(uint8_t id, follower_direction_t dir){

	// Set ke Algoritma color detection
	if(algorithm_type != ALGORITHM_COLOR_RECOGNITION){
		status = husky_setAlgorithm(ALGORITHM_COLOR_RECOGNITION);
		algorithm_type = ALGORITHM_COLOR_RECOGNITION;
	}
		blocks = husky_getBlocks();
		dyna_sudut = dyna_read_posisition(&ax);
		if(blocks.id == id){
				FFV = ping_read(FF);
				FRV = ping_read(FR);
				BRV = ping_read(BR);
				for (float t = 0.01f; t <= 5; t += SAMPLE_TIME_S) {

					PIDController_Update(&pid_pk, setpoint_pk, blocks.X_center);
					PIDController_Update(&pid_kf, setpoint_kf, dyna_sudut);
					if(pid_pk.out >= 0){
						dyna_set_moving_speed(&ax, 50, MOVING_CW);
						dyna_set_goal_position(&ax, dyna_sudut+pid_pk.out);
					}
					else if(pid_pk.out < 0){
						dyna_set_moving_speed(&ax, 50, MOVING_CCW);
						dyna_set_goal_position(&ax, dyna_sudut+pid_pk.out);
					}
					if(dir == DIRECTION_DEPAN){
						if((blocks.X_center >= 140) && (blocks.X_center <= 170)){
							if(FFV <= 14){
								tx_move_jalan(pid_kf.out, 5, 30, 15, JALAN_NORMAL, 2);
							}
							else{
								tx_move_jalan(pid_kf.out, 0, 30, 15, JALAN_NORMAL, 2);
							}
							if((dyna_sudut >= 510) && (dyna_sudut >= 530) && (FRV >= 40) && (BRV >= 40)) return true;
							else return false;
						}
						else{
							tx_move_steady();
						}
						return false;
					}
//					else if(dir == DIRECTION_KANAN){
//						if((blocks.X_center >= 140) && (blocks.X_center <= 170)){
//								tx_move_steady();
//								return true;
//						}
//						else{
//							tx_move_jalan(0, pid_kf.out, 30, 15, JALAN_NORMAL, 2);
//						}
//						return false;
//					}
				}
				return false;
		}
	}

	bool scp_korban_follower_rotasi(uint8_t id, follower_direction_t dir){

	// Set ke Algoritma color detection
	if(algorithm_type != ALGORITHM_COLOR_RECOGNITION){
		status = husky_setAlgorithm(ALGORITHM_COLOR_RECOGNITION);
		algorithm_type = ALGORITHM_COLOR_RECOGNITION;
	}
	while(1){
		blocks = husky_getBlocks();
		dyna_sudut = dyna_read_posisition(&ax);
		if(blocks.id == id){

					PIDController_Update(&pid_pk, setpoint_pk, blocks.X_center);
					PIDController_Update(&pid_rk, setpoint_rk, dyna_sudut);
					if(pid_pk.out >= 0){
						dyna_set_moving_speed(&ax, 50, MOVING_CW);
						dyna_set_goal_position(&ax, dyna_sudut+pid_pk.out);
					}
					else if(pid_pk.out < 0){
						dyna_set_moving_speed(&ax, 50, MOVING_CCW);
						dyna_set_goal_position(&ax, dyna_sudut+pid_pk.out);
					}

					if((dyna_sudut >= 502) && (dyna_sudut <= 522) && (blocks.X_center >= 140) && (blocks.X_center <= 170)){
						tx_move_steady();
						break;
					}
					else{
						tx_move_rotasi(0, 0, pid_rk.out*(-1), 60, 1, 15, 1);
					}

		}
	}
}

void scp_deteksi_arena(uint8_t id){

	// Set ke Algoritma color detection
	if(algorithm_type != ALGORITHM_OBJECT_CLASSIFICATION){
		status = husky_setAlgorithm(ALGORITHM_OBJECT_CLASSIFICATION);
		algorithm_type = ALGORITHM_OBJECT_CLASSIFICATION;
	}

}

void scp_mode_jalan(mode_jalan_t mode){
	tx_move_jalan(0, 15, 0, 5, mode, 2);
}

void scp_kepala_move(dynamixel_kepala_direction_t dir){
	dyna_set_moving_speed(&ax, 1023, MOVING_CW);
	dyna_calibrate(&ax);
	HAL_Delay(500);
	if(dir == KEPALA_DEPAN) dyna_calibrate(&ax);
	else if(dir == KEPALA_KANAN) dyna_set_goal_position(&ax, 261);
	else if(dir == KEPALA_BELAKANG) dyna_endless_turn(&ax, 400, 1023, MOVING_CW);
	else if(dir == KEPALA_KIRI) dyna_set_goal_position(&ax, 785);
	else if(dir == KEPALA_KANAN_DEPAN) dyna_set_goal_position(&ax, 300);
}

void pid_run_belakang(uint8_t state_jalan, double input, follower_direction_t dir){
		if((state_jalan == STATE_BELAKANG)&&(input > 0.0)){
			PIDController_Update(&pid_wf, setpoint_wf_y, input);
			if(dir == DIRECTION_KANAN) tx_move_jalan(20, pid_wf.out, 60, 15, JALAN_NORMAL,1);
			else if(dir == DIRECTION_KIRI) tx_move_jalan(-20, pid_wf.out, 60, 15, JALAN_NORMAL,1);
		}
}

void scp_wall_follower_belakang(void){
	BBV = ping_read(BB);
	if((BBV > 1) ){
			belakang = (BBV);
			pid_run_belakang(STATE_BELAKANG, belakang, DIRECTION_KIRI);
		}
	HAL_Delay(5);
}

void scp_ambil_korban(void){
		tx_capit(HOME_CAPIT, 0x00, 15);
		HAL_Delay(3000);
		tx_capit(AMBIL_KORBAN, 0x00, 15);
		HAL_Delay(3000);
		dyna_calibrate(&ax);
		scp_kepala_move(KEPALA_BELAKANG);
		HAL_Delay(500);
}

void scp_turun_korban(void){
		dyna_calibrate(&ax);
		tx_capit(HOME_CAPIT, 0x00, 15);
		HAL_Delay(3000);
		tx_capit(PENYELAMATAN_KORBAN, 0x00, 15);
		HAL_Delay(3000);
		dyna_calibrate(&ax);
}

void ping_clear(void){
	FFV = 0; FRV = 0; BRV = 0; FLV = 0; BLV = 0; BBV = 0;
}
/* USER CODE END 4 */

void Error_Handler(void)
{
  __disable_irq();
  while (1)
  {
  }
}
